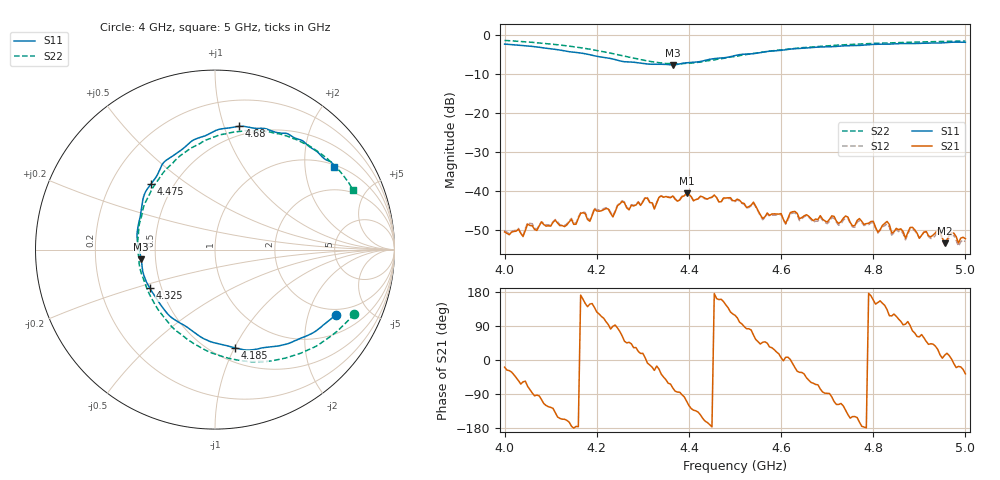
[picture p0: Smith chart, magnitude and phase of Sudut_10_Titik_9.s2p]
# Hz S RI R 50
! CMT, C1220, 16058040, 17.2.0/1
! Date: 15/08/2018 11:29:08
! Data: Format (Calibration Info)
! Freq  S11: Re/Im (F2)  S21: Re/Im (F2)  S12: Re/Im (F2)  S22: Re/Im (F2)
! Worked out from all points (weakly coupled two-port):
!   201 points, 4 GHz to 5 GHz, reference 50 ohm
!   highest |S21| = -40.59 dB at 4.395 GHz (marker M1); lowest = -53.4 dB at 4.955 GHz (marker M2)
!   lowest |S11| = -7.7 dB at 4.365 GHz (marker M3), VSWR 2.41, Z = 20.8 - j2.67 ohm
!   |S11| at or under -10 dB: nowhere
!   |S22| runs from -7.4 to -1.4 dB; largest |S21 - S12| = 0.00064
!   S11 on the Smith chart (normalised r, x): 4 GHz: 1.75, -3.04; 4.185 GHz: 0.63, -1.01; 4.325 GHz: 0.43, -0.22; 4.475 GHz: 0.38, +0.37; 4.68 GHz: 0.42, +1.13; 5 GHz: 1.08, +2.84
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4e9  0.6727 -0.3623  0.00284 -0.000973  0.00302 -0.0009  0.7737 -0.3566
4.155e9  0.2187 -0.5569  -0.00375 -0.000318  -0.00387 -0.000376  0.3336 -0.6164
4.17e9  0.1646 -0.5586  -0.005 0.00176  -0.00516 0.00178  0.2729 -0.6226
4.185e9  0.1123 -0.5483  -0.00347 0.00219  -0.00359 0.00223  0.2089 -0.6245
4.255e9  -0.1537 -0.4334  0.00325 0.00661  0.00336 0.00675  -0.0972 -0.5357
4.325e9  -0.3634 -0.2139  0.00524 -0.00271  0.0058 -0.0024  -0.3423 -0.2915
4.335e9  -0.3831 -0.1782  0.00761 -0.00338  0.00762 -0.00352  -0.3657 -0.2479
4.365e9  -0.4106 -0.0531  0.00242 -0.00832  0.00229 -0.00848  -0.4183 -0.1043
4.395e9  -0.4346 0.0746  -0.00299 -0.00885  -0.00323 -0.00886  -0.4308 0.0478
4.475e9  -0.3543 0.3672  -0.00735 0.00356  -0.00716 0.00373  -0.3142 0.3914
4.5e9  -0.3037 0.4534  -0.00354 0.00664  -0.0034 0.00652  -0.2482 0.4706
4.54e9  -0.2141 0.5362  0.00293 0.0066  0.00298 0.00632  -0.133 0.5663
4.56e9  -0.1555 0.5823  0.00305 0.00325  0.00298 0.0031  -0.0715 0.5994
4.67e9  0.115 0.6839  0.002 -0.00367  0.00189 -0.00351  0.2484 0.6623
4.68e9  0.135 0.6872  0.0018 -0.00393  0.00173 -0.00376  0.2733 0.6587
4.835e9  0.4466 0.6206  -0.0017 0.00333  -0.00164 0.00307  0.5837 0.5381
4.87e9  0.4971 0.5991  -0.000204 0.00248  -0.000266 0.00236  0.6345 0.4989
4.88e9  0.5109 0.586  -7.06e-05 0.00342  -0.000138 0.0033  0.6466 0.4857
4.9e9  0.5449 0.561  0.0012 0.00217  0.00114 0.00224  0.6713 0.4628
4.94e9  0.5965 0.5173  0.00284 0.0015  0.00262 0.00138  0.7151 0.4129
4.955e9  0.6216 0.4988  0.00209 0.000474  0.00198 0.000452  0.7302 0.3926
5e9  0.6641 0.4592  0.00198 -0.00146  0.00188 -0.00125  0.7695 0.3338
